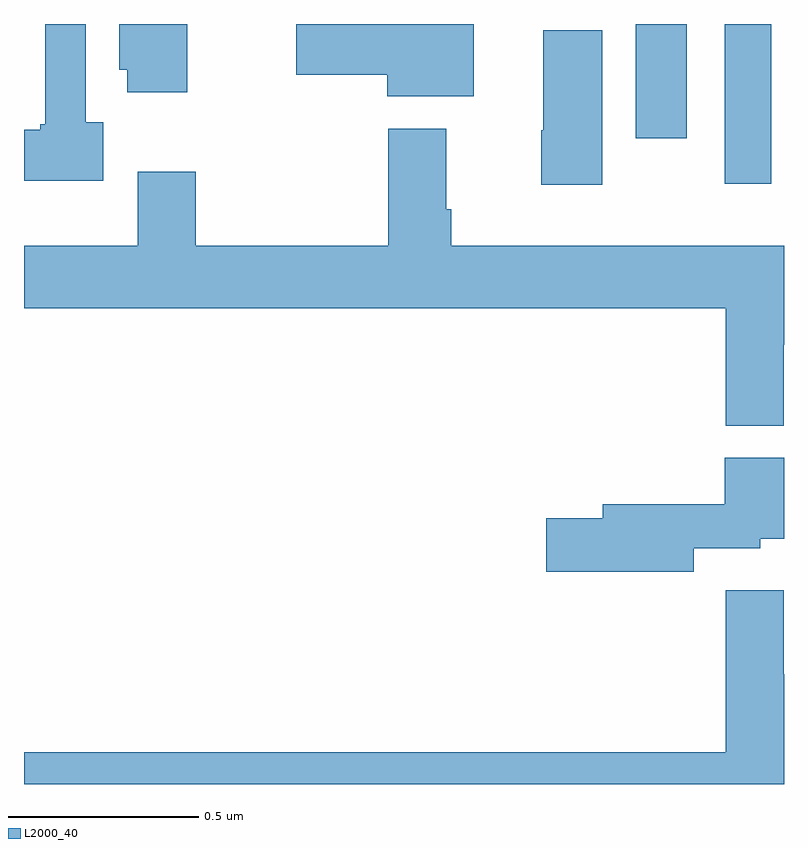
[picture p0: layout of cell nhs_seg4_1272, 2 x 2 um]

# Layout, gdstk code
import gdstk
lib = gdstk.Library(unit=1e-6, precision=1e-09)
def R(c, l, rs):  # rectangles x0, y0, x1, y1
    for r in rs: c.add(gdstk.rectangle(r[:2], r[2:], *l))
def P(c, l, *ps):  # polygons
    for p in ps: c.add(gdstk.Polygon(p, *l))
L2000_40 = (2000, 40)

nhs_seg4_1272 = lib.new_cell('nhs_seg4_1272')
R(nhs_seg4_1272, L2000_40, [(127.844,798.48,127.966,798.9), (127.61,798.6,127.744,798.9)])
P(nhs_seg4_1272, L2000_40, [(127.183,798.9),(126.716,798.9),(126.716,798.767),(126.956,798.767),(126.956,798.71),(127.183,798.71)],
  [(126.208,798.642),(126.163,798.642),(126.163,798.9),(126.056,798.9),(126.056,798.636),(126.043,798.636),(126.043,798.622),(126,798.622),(126,798.488),(126.208,798.488)],
  [(126.43,798.9),(126.251,798.9),(126.251,798.78),(126.272,798.78),(126.272,798.72),(126.43,798.72)],
  [(127.522,798.883),(127.367,798.883),(127.367,798.621),(127.361,798.621),(127.361,798.477),(127.522,798.477)],
  [(127.999,798.056),(128,798.056),(128,798.316),(127.124,798.316),(127.124,798.412),(127.111,798.412),(127.111,798.625),(126.959,798.625),(126.959,798.316),(126.452,798.316),(126.452,798.511),(126.299,798.511),(126.299,798.316),(126,798.316),(126,798.152),(127.847,798.152),(127.847,797.843),(127.999,797.843)],
  [(127.762,797.52),(127.938,797.52),(127.938,797.546),(128,797.546),(128,797.758),(127.844,797.758),(127.844,797.636),(127.523,797.636),(127.523,797.6),(127.374,797.6),(127.374,797.458),(127.762,797.458)],
  [(128,797.189),(127.999,797.189),(127.999,797.41),(127.847,797.41),(127.847,796.984),(126,796.984),(126,796.9),(128,796.9)])

lib.write_gds('nhs_seg4_1272.gds')
